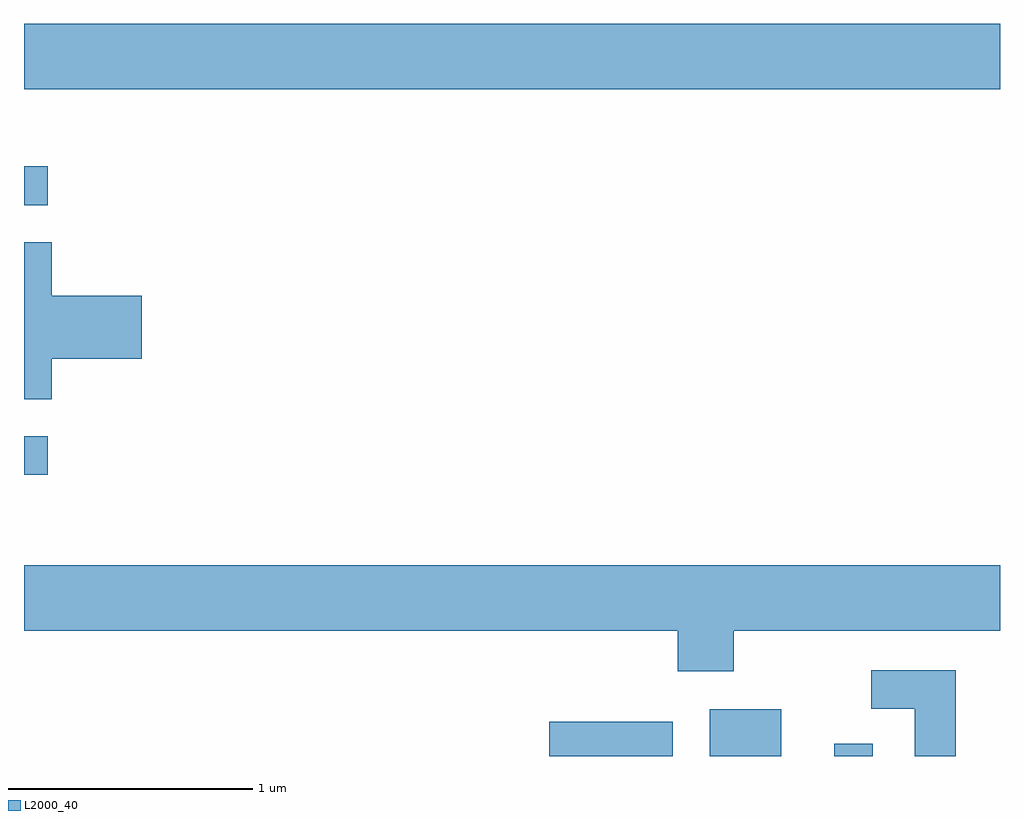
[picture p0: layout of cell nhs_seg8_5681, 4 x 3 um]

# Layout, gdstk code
import gdstk
lib = gdstk.Library(unit=1e-6, precision=1e-09)
def R(c, l, rs):  # rectangles x0, y0, x1, y1
    for r in rs: c.add(gdstk.rectangle(r[:2], r[2:], *l))
def P(c, l, *ps):  # polygons
    for p in ps: c.add(gdstk.Polygon(p, *l))
L2000_40 = (2000, 40)

nhs_seg8_5681 = lib.new_cell('nhs_seg8_5681')
R(nhs_seg8_5681, L2000_40, [(357.763,1840.342,358.269,1840.484), (358.421,1840.342,358.714,1840.534), (358.931,1840.342,359.089,1840.393), (355.611,1841.496,355.708,1841.654), (355.611,1842.601,355.708,1842.759), (355.611,1843.076,359.611,1843.344)])
P(nhs_seg8_5681, L2000_40, [(355.724,1841.971),(356.094,1841.971),(356.094,1842.229),(355.724,1842.229),(355.724,1842.449),(355.611,1842.449),(355.611,1841.806),(355.724,1841.806)],
  [(358.519,1840.856),(359.611,1840.856),(359.611,1841.124),(355.611,1841.124),(355.611,1840.856),(358.291,1840.856),(358.291,1840.691),(358.519,1840.691)],
  [(359.429,1840.694),(359.083,1840.694),(359.083,1840.536),(359.261,1840.536),(359.261,1840.342),(359.429,1840.342)])

lib.write_gds('nhs_seg8_5681.gds')
